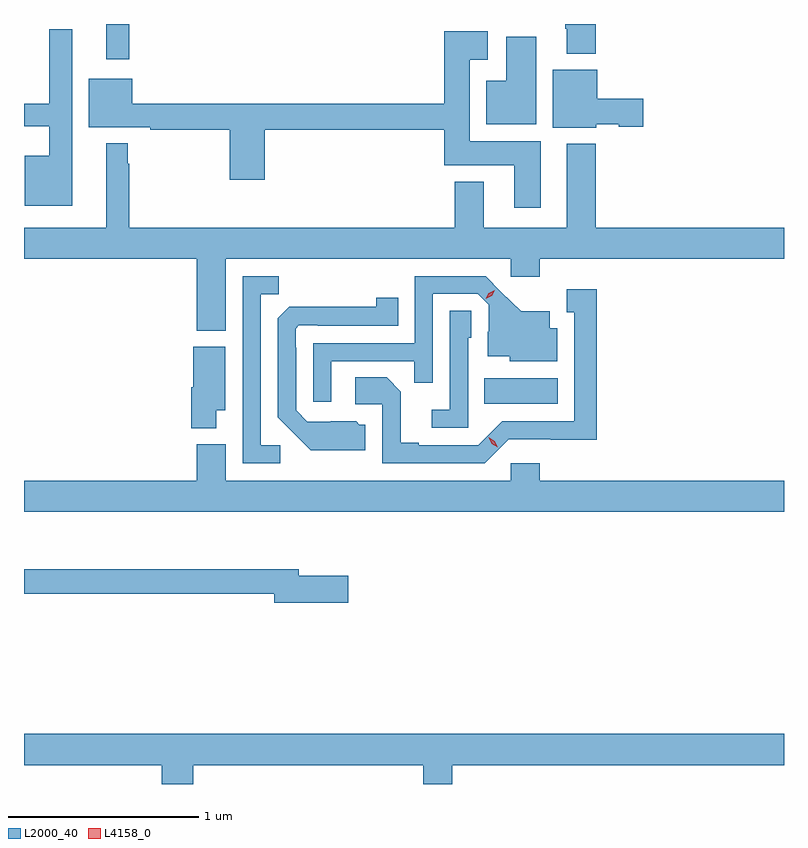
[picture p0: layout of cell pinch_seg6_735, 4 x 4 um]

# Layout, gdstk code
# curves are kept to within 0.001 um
import gdstk
lib = gdstk.Library(unit=1e-6, precision=1e-09)
def R(c, l, rs):  # rectangles x0, y0, x1, y1
    for r in rs: c.add(gdstk.rectangle(r[:2], r[2:], *l))
def P(c, l, *ps):  # polygons
    for p in ps: c.add(gdstk.Polygon(p, *l))
L2000_40 = (2000, 40)
L4158_0 = (4158, 0)

pinch_seg6_735 = lib.new_cell('pinch_seg6_735')
R(pinch_seg6_735, L2000_40, [(606.454,945.242,606.841,945.376), (604.463,947.055,604.585,947.24)])
P(pinch_seg6_735, L2000_40, [(607.04,947.24),(606.88,947.24),(606.88,947.216),(606.887,947.216),(606.887,947.084),(607.04,947.084)],
  [(604.285,947.212),(604.164,947.212),(604.164,946.82),(604.031,946.82),(604.031,946.703),(604.164,946.703),(604.164,946.546),(604.034,946.546),(604.034,946.283),(604.285,946.283)],
  [(606.751,946.624),(606.376,946.624),(606.376,947.051),(606.472,947.051),(606.472,947.203),(606.242,947.203),(606.242,946.82),(604.6,946.82),(604.6,946.951),(604.373,946.951),(604.373,946.697),(604.696,946.697),(604.696,946.684),(605.114,946.684),(605.114,946.419),(605.297,946.419),(605.297,946.684),(606.242,946.684),(606.242,946.496),(606.611,946.496),(606.611,946.272),(606.751,946.272)],
  [(606.727,947.173),(606.569,947.173),(606.569,946.942),(606.464,946.942),(606.464,946.712),(606.727,946.712)],
  [(607.044,946.712),(607.161,946.712),(607.161,946.7),(607.291,946.7),(607.291,946.847),(607.048,946.847),(607.048,946.999),(606.815,946.999),(606.815,946.694),(607.044,946.694)],
  [(605.092,946.004),(606.594,946.004),(606.594,945.909),(606.746,945.909),(606.746,946.004),(608.031,946.004),(608.031,946.168),(607.04,946.168),(607.04,946.609),(606.887,946.609),(606.887,946.168),(606.451,946.168),(606.451,946.411),(606.299,946.411),(606.299,946.168),(604.585,946.168),(604.585,946.505),(604.578,946.505),(604.578,946.612),(604.463,946.612),(604.463,946.168),(604.031,946.168),(604.031,946.004),(604.94,946.004),(604.94,945.626),(605.092,945.626)],
  [(605.38,945.024),(605.277,945.024),(605.277,945.817),(605.373,945.817),(605.373,945.912),(605.181,945.912),(605.181,944.928),(605.38,944.928)],
  [(605.649,945.465),(606.085,945.465),(606.085,945.352),(606.183,945.352),(606.183,945.819),(606.42,945.819),(606.477,945.762),(606.477,945.62),(606.473,945.62),(606.473,945.491),(606.588,945.491),(606.588,945.464),(606.838,945.464),(606.838,945.64),(606.799,945.64),(606.799,945.727),(606.647,945.727),(606.46,945.912),(606.087,945.912),(606.087,945.561),(605.553,945.561),(605.553,945.252),(605.649,945.252)],
  [(606.582,945.054),(607.045,945.053),(607.045,945.844),(606.887,945.844),(606.887,945.723),(606.926,945.723),(606.926,945.15),(606.549,945.15),(606.423,945.024),(606.109,945.024),(606.109,945.037),(606.015,945.037),(606.015,945.304),(605.939,945.38),(605.775,945.38),(605.775,945.24),(605.916,945.24),(605.916,944.928),(606.456,944.928)],
  [(605.827,945.132),(605.796,945.132),(605.78,945.148),(605.523,945.147),(605.463,945.207),(605.463,945.536),(605.46,945.536),(605.46,945.636),(605.478,945.654),(605.578,945.654),(605.578,945.651),(606.002,945.651),(606.002,945.799),(605.884,945.799),(605.884,945.752),(605.426,945.751),(605.367,945.692),(605.367,945.17),(605.539,944.996),(605.827,944.996)],
  [(606.369,945.588),(606.384,945.588),(606.384,945.731),(606.273,945.731),(606.273,945.211),(606.177,945.211),(606.177,945.114),(606.369,945.114)],
  [(605.044,945.206),(605.089,945.206),(605.089,945.541),(604.922,945.541),(604.922,945.327),(604.91,945.327),(604.91,945.113),(605.044,945.113)],
  [(608.031,944.836),(606.746,944.836),(606.746,944.929),(606.594,944.929),(606.594,944.836),(605.092,944.836),(605.092,945.028),(604.94,945.028),(604.94,944.836),(604.031,944.836),(604.031,944.672),(608.031,944.672)],
  [(605.737,944.337),(605.476,944.337),(605.476,944.371),(604.031,944.371),(604.031,944.242),(605.348,944.242),(605.348,944.195),(605.737,944.195)],
  [(604.031,943.34),(604.757,943.34),(604.757,943.24),(604.922,943.24),(604.922,943.34),(606.132,943.34),(606.132,943.24),(606.284,943.24),(606.284,943.34),(608.031,943.34),(608.031,943.504),(604.031,943.504)])
P(pinch_seg6_735, L4158_0, [(606.461,945.793),(606.461,945.794),(606.478,945.824),(606.509,945.84),(606.509,945.84),(606.509,945.839),(606.492,945.81),(606.462,945.793)],
  [(606.525,945.012),(606.493,945.031),(606.476,945.064),(606.476,945.064),(606.477,945.064),(606.508,945.045),(606.525,945.012),(606.525,945.012)])

lib.write_gds('pinch_seg6_735.gds')
